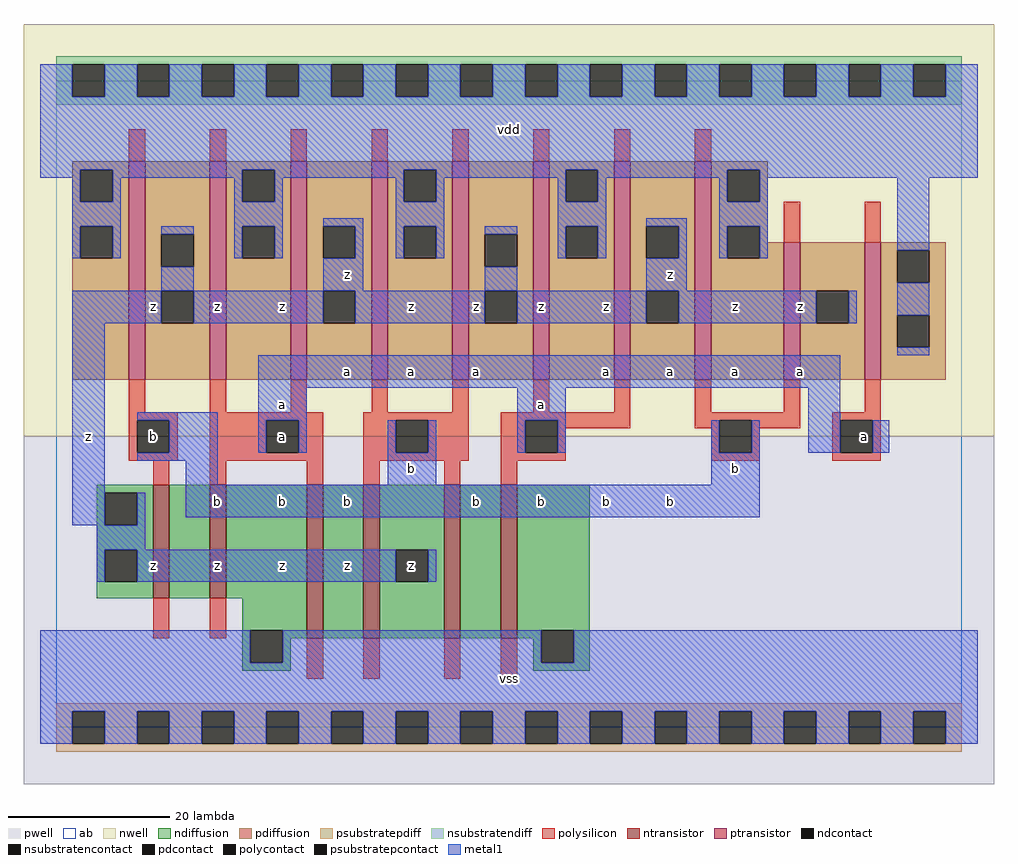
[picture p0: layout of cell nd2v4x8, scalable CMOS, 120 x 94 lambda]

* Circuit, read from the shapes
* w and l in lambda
.subckt nd2v4x8 a b vdd vss z
M1 n1 b z vss nfet w=14 l=2
M2 vss a n1 vss nfet w=14 l=2
M3 n2 a vss vss nfet w=19 l=2
M4 z b n2 vss nfet w=19 l=2
M5 n3 b z vss nfet w=19 l=2
M6 vss a n3 vss nfet w=19 l=2
M7 z b vdd vdd pfet w=27 l=2 m=4
M8 vdd a z vdd pfet w=27 l=2 m=4
M9 z b vdd vdd pfet w=17 l=2
M10 vdd a z vdd pfet w=17 l=2
.ends

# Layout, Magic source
magic
tech scmos
<< ab >>
rect 0 0 112 80
<< pwell >>
rect -4 -7 116 36
<< nwell >>
rect -4 36 116 87
<< polysilicon >>
rect 9 70 11 74
rect 19 70 21 74
rect 29 70 31 74
rect 39 70 41 74
rect 49 70 51 74
rect 59 70 61 74
rect 69 70 71 74
rect 79 70 81 74
rect 90 60 92 65
rect 100 60 102 65
rect 9 39 11 43
rect 19 39 21 43
rect 29 39 31 43
rect 39 39 41 43
rect 49 39 51 43
rect 59 39 61 43
rect 69 39 71 43
rect 9 38 15 39
rect 9 34 10 38
rect 14 34 15 38
rect 9 33 15 34
rect 19 38 33 39
rect 19 34 26 38
rect 30 34 33 38
rect 19 33 33 34
rect 12 30 14 33
rect 19 30 21 33
rect 31 30 33 33
rect 38 38 51 39
rect 38 34 42 38
rect 46 34 51 38
rect 38 33 51 34
rect 55 38 71 39
rect 55 34 58 38
rect 62 37 71 38
rect 79 39 81 43
rect 90 39 92 43
rect 100 39 102 43
rect 79 38 92 39
rect 79 37 82 38
rect 62 34 63 37
rect 55 33 63 34
rect 81 34 82 37
rect 86 37 92 38
rect 96 38 102 39
rect 86 34 87 37
rect 81 33 87 34
rect 96 34 97 38
rect 101 34 102 38
rect 96 33 102 34
rect 38 30 40 33
rect 48 30 50 33
rect 55 30 57 33
rect 12 11 14 16
rect 19 11 21 16
rect 31 6 33 11
rect 38 6 40 11
rect 48 6 50 11
rect 55 6 57 11
<< ndiffusion >>
rect 5 29 12 30
rect 5 25 6 29
rect 10 25 12 29
rect 5 22 12 25
rect 5 18 6 22
rect 10 18 12 22
rect 5 16 12 18
rect 14 16 19 30
rect 21 16 31 30
rect 23 12 31 16
rect 23 8 24 12
rect 28 11 31 12
rect 33 11 38 30
rect 40 22 48 30
rect 40 18 42 22
rect 46 18 48 22
rect 40 11 48 18
rect 50 11 55 30
rect 57 12 66 30
rect 57 11 60 12
rect 28 8 29 11
rect 23 7 29 8
rect 59 8 60 11
rect 64 8 66 12
rect 59 7 66 8
<< pdiffusion >>
rect 2 69 9 70
rect 2 65 3 69
rect 7 65 9 69
rect 2 62 9 65
rect 2 58 3 62
rect 7 58 9 62
rect 2 43 9 58
rect 11 61 19 70
rect 11 57 13 61
rect 17 57 19 61
rect 11 54 19 57
rect 11 50 13 54
rect 17 50 19 54
rect 11 43 19 50
rect 21 69 29 70
rect 21 65 23 69
rect 27 65 29 69
rect 21 62 29 65
rect 21 58 23 62
rect 27 58 29 62
rect 21 43 29 58
rect 31 62 39 70
rect 31 58 33 62
rect 37 58 39 62
rect 31 54 39 58
rect 31 50 33 54
rect 37 50 39 54
rect 31 43 39 50
rect 41 69 49 70
rect 41 65 43 69
rect 47 65 49 69
rect 41 62 49 65
rect 41 58 43 62
rect 47 58 49 62
rect 41 43 49 58
rect 51 61 59 70
rect 51 57 53 61
rect 57 57 59 61
rect 51 54 59 57
rect 51 50 53 54
rect 57 50 59 54
rect 51 43 59 50
rect 61 69 69 70
rect 61 65 63 69
rect 67 65 69 69
rect 61 62 69 65
rect 61 58 63 62
rect 67 58 69 62
rect 61 43 69 58
rect 71 62 79 70
rect 71 58 73 62
rect 77 58 79 62
rect 71 54 79 58
rect 71 50 73 54
rect 77 50 79 54
rect 71 43 79 50
rect 81 69 88 70
rect 81 65 83 69
rect 87 65 88 69
rect 81 62 88 65
rect 81 58 83 62
rect 87 60 88 62
rect 87 58 90 60
rect 81 43 90 58
rect 92 54 100 60
rect 92 50 94 54
rect 98 50 100 54
rect 92 43 100 50
rect 102 59 110 60
rect 102 55 104 59
rect 108 55 110 59
rect 102 51 110 55
rect 102 47 104 51
rect 108 47 110 51
rect 102 43 110 47
<< metal1 >>
rect -2 78 2 82
rect 6 78 10 82
rect 14 78 18 82
rect 22 78 26 82
rect 30 78 34 82
rect 38 78 42 82
rect 46 78 50 82
rect 54 78 58 82
rect 62 78 66 82
rect 70 78 74 82
rect 78 78 82 82
rect 86 78 90 82
rect 94 78 98 82
rect 102 78 106 82
rect 110 78 114 82
rect -2 69 114 78
rect -2 68 3 69
rect 2 65 3 68
rect 7 68 23 69
rect 7 65 8 68
rect 2 62 8 65
rect 22 65 23 68
rect 27 68 43 69
rect 27 65 28 68
rect 22 62 28 65
rect 42 65 43 68
rect 47 68 63 69
rect 47 65 48 68
rect 2 58 3 62
rect 7 58 8 62
rect 13 61 17 62
rect 22 58 23 62
rect 27 58 28 62
rect 33 62 38 63
rect 37 58 38 62
rect 42 62 48 65
rect 62 65 63 68
rect 67 68 83 69
rect 67 65 68 68
rect 62 62 68 65
rect 82 65 83 68
rect 87 68 114 69
rect 87 65 88 68
rect 42 58 43 62
rect 47 58 48 62
rect 53 61 57 62
rect 13 54 17 57
rect 33 54 38 58
rect 62 58 63 62
rect 67 58 68 62
rect 73 62 78 63
rect 77 58 78 62
rect 82 62 88 65
rect 82 58 83 62
rect 87 58 88 62
rect 104 59 108 68
rect 53 54 57 57
rect 73 54 78 58
rect 2 50 13 54
rect 17 50 33 54
rect 37 50 53 54
rect 57 50 73 54
rect 77 50 94 54
rect 98 50 99 54
rect 104 51 108 55
rect 2 25 6 50
rect 104 46 108 47
rect 25 42 97 46
rect 10 38 20 39
rect 14 34 20 38
rect 25 38 31 42
rect 57 38 63 42
rect 25 34 26 38
rect 30 34 31 38
rect 41 34 42 38
rect 46 34 47 38
rect 57 34 58 38
rect 62 34 63 38
rect 81 34 82 38
rect 86 34 87 38
rect 93 34 97 42
rect 101 34 103 38
rect 10 33 20 34
rect 16 30 20 33
rect 41 30 47 34
rect 81 30 87 34
rect 10 25 11 29
rect 16 26 87 30
rect 5 22 11 25
rect 5 18 6 22
rect 10 18 42 22
rect 46 18 47 22
rect -2 8 24 12
rect 28 8 60 12
rect 64 8 114 12
rect -2 2 114 8
rect -2 -2 2 2
rect 6 -2 10 2
rect 14 -2 18 2
rect 22 -2 26 2
rect 30 -2 34 2
rect 38 -2 42 2
rect 46 -2 50 2
rect 54 -2 58 2
rect 62 -2 66 2
rect 70 -2 74 2
rect 78 -2 82 2
rect 86 -2 90 2
rect 94 -2 98 2
rect 102 -2 106 2
rect 110 -2 114 2
<< ntransistor >>
rect 12 16 14 30
rect 19 16 21 30
rect 31 11 33 30
rect 38 11 40 30
rect 48 11 50 30
rect 55 11 57 30
<< ptransistor >>
rect 9 43 11 70
rect 19 43 21 70
rect 29 43 31 70
rect 39 43 41 70
rect 49 43 51 70
rect 59 43 61 70
rect 69 43 71 70
rect 79 43 81 70
rect 90 43 92 60
rect 100 43 102 60
<< polycontact >>
rect 10 34 14 38
rect 26 34 30 38
rect 42 34 46 38
rect 58 34 62 38
rect 82 34 86 38
rect 97 34 101 38
<< ndcontact >>
rect 6 25 10 29
rect 6 18 10 22
rect 24 8 28 12
rect 42 18 46 22
rect 60 8 64 12
<< pdcontact >>
rect 3 65 7 69
rect 3 58 7 62
rect 13 57 17 61
rect 13 50 17 54
rect 23 65 27 69
rect 23 58 27 62
rect 33 58 37 62
rect 33 50 37 54
rect 43 65 47 69
rect 43 58 47 62
rect 53 57 57 61
rect 53 50 57 54
rect 63 65 67 69
rect 63 58 67 62
rect 73 58 77 62
rect 73 50 77 54
rect 83 65 87 69
rect 83 58 87 62
rect 94 50 98 54
rect 104 55 108 59
rect 104 47 108 51
<< psubstratepcontact >>
rect 2 -2 6 2
rect 10 -2 14 2
rect 18 -2 22 2
rect 26 -2 30 2
rect 34 -2 38 2
rect 42 -2 46 2
rect 50 -2 54 2
rect 58 -2 62 2
rect 66 -2 70 2
rect 74 -2 78 2
rect 82 -2 86 2
rect 90 -2 94 2
rect 98 -2 102 2
rect 106 -2 110 2
<< nsubstratencontact >>
rect 2 78 6 82
rect 10 78 14 82
rect 18 78 22 82
rect 26 78 30 82
rect 34 78 38 82
rect 42 78 46 82
rect 50 78 54 82
rect 58 78 62 82
rect 66 78 70 82
rect 74 78 78 82
rect 82 78 86 82
rect 90 78 94 82
rect 98 78 102 82
rect 106 78 110 82
<< psubstratepdiff >>
rect 0 2 112 3
rect 0 -2 2 2
rect 6 -2 10 2
rect 14 -2 18 2
rect 22 -2 26 2
rect 30 -2 34 2
rect 38 -2 42 2
rect 46 -2 50 2
rect 54 -2 58 2
rect 62 -2 66 2
rect 70 -2 74 2
rect 78 -2 82 2
rect 86 -2 90 2
rect 94 -2 98 2
rect 102 -2 106 2
rect 110 -2 112 2
rect 0 -3 112 -2
<< nsubstratendiff >>
rect 0 82 112 83
rect 0 78 2 82
rect 6 78 10 82
rect 14 78 18 82
rect 22 78 26 82
rect 30 78 34 82
rect 38 78 42 82
rect 46 78 50 82
rect 54 78 58 82
rect 62 78 66 82
rect 70 78 74 82
rect 78 78 82 82
rect 86 78 90 82
rect 94 78 98 82
rect 102 78 106 82
rect 110 78 112 82
rect 0 77 112 78
<< labels >>
rlabel metal1 12 20 12 20 6 z
rlabel polycontact 12 36 12 36 6 b
rlabel metal1 4 36 4 36 6 z
rlabel metal1 12 52 12 52 6 z
rlabel metal1 20 20 20 20 6 z
rlabel metal1 20 28 20 28 6 b
rlabel metal1 28 20 28 20 6 z
rlabel metal1 28 28 28 28 6 b
rlabel metal1 36 20 36 20 6 z
rlabel metal1 36 28 36 28 6 b
rlabel polycontact 28 36 28 36 6 a
rlabel metal1 28 40 28 40 6 a
rlabel metal1 36 44 36 44 6 a
rlabel metal1 28 52 28 52 6 z
rlabel metal1 20 52 20 52 6 z
rlabel metal1 36 56 36 56 6 z
rlabel metal1 56 6 56 6 6 vss
rlabel ndcontact 44 20 44 20 6 z
rlabel metal1 52 28 52 28 6 b
rlabel metal1 60 28 60 28 6 b
rlabel metal1 44 32 44 32 6 b
rlabel metal1 44 44 44 44 6 a
rlabel metal1 52 44 52 44 6 a
rlabel metal1 60 40 60 40 6 a
rlabel metal1 52 52 52 52 6 z
rlabel metal1 60 52 60 52 6 z
rlabel metal1 44 52 44 52 6 z
rlabel metal1 56 74 56 74 6 vdd
rlabel metal1 68 28 68 28 6 b
rlabel metal1 76 28 76 28 6 b
rlabel metal1 84 32 84 32 6 b
rlabel metal1 68 44 68 44 6 a
rlabel metal1 76 44 76 44 6 a
rlabel metal1 84 44 84 44 6 a
rlabel metal1 84 52 84 52 6 z
rlabel metal1 68 52 68 52 6 z
rlabel metal1 76 56 76 56 6 z
rlabel metal1 92 44 92 44 6 a
rlabel polycontact 100 36 100 36 6 a
rlabel metal1 92 52 92 52 6 z
<< end >>
